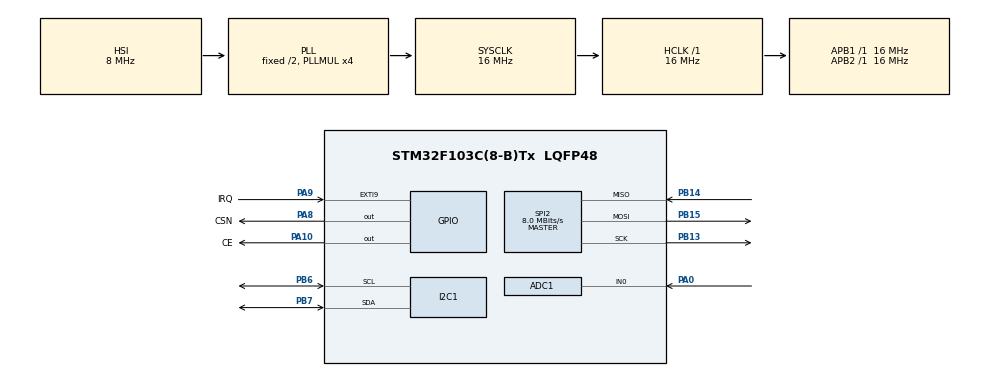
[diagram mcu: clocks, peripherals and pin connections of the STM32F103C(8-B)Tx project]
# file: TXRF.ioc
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ADC1.Channel-0\#ChannelRegularConversion=ADC_CHANNEL_0
ADC1.ContinuousConvMode=ENABLE
ADC1.NbrOfConversionFlag=1
ADC1.Rank-0\#ChannelRegularConversion=1
ADC1.SamplingTime-0\#ChannelRegularConversion=ADC_SAMPLETIME_1CYCLE_5
ADC1.master=1
Mcu.Family=STM32F1
Mcu.Name=STM32F103C(8-B)Tx
Mcu.Package=LQFP48
NVIC.PriorityGroup=NVIC_PRIORITYGROUP_4
NVIC.SPI2_IRQn=true\:0\:0\:false\:false\:true\:true\:true\:true
PA0-WKUP.Signal=ADCx_IN0
PA10.GPIO_Label=CE
PA10.GPIO_Speed=GPIO_SPEED_FREQ_HIGH
PA10.Signal=GPIO_Output
PA13.Mode=Serial_Wire
PA13.Signal=SYS_JTMS-SWDIO
PA14.Mode=Serial_Wire
PA14.Signal=SYS_JTCK-SWCLK
PA8.GPIO_Label=CSN
PA8.GPIO_Speed=GPIO_SPEED_FREQ_HIGH
PA8.Signal=GPIO_Output
PA9.GPIO_Label=IRQ
PA9.GPIO_ModeDefaultEXTI=GPIO_MODE_IT_FALLING
PA9.Signal=GPXTI9
PB13.Mode=Full_Duplex_Master
PB13.Signal=SPI2_SCK
PB14.Mode=Full_Duplex_Master
PB14.Signal=SPI2_MISO
PB15.Mode=Full_Duplex_Master
PB15.Signal=SPI2_MOSI
PB6.Mode=I2C
PB6.Signal=I2C1_SCL
PB7.Mode=I2C
PB7.Signal=I2C1_SDA
ProjectManager.HeapSize=0x200
ProjectManager.StackSize=0x400
ProjectManager.TargetToolchain=STM32CubeIDE
RCC.AHBFreq_Value=16000000
RCC.APB1Freq_Value=16000000
RCC.APB1TimFreq_Value=16000000
RCC.APB2Freq_Value=16000000
RCC.APB2TimFreq_Value=16000000
RCC.HCLKFreq_Value=16000000
RCC.PLLMUL=RCC_PLL_MUL4
RCC.SYSCLKFreq_VALUE=16000000
RCC.SYSCLKSource=RCC_SYSCLKSOURCE_PLLCLK
RCC.USBFreq_Value=16000000
SH.ADCx_IN0.0=ADC1_IN0,IN0
SPI2.CalculateBaudRate=8.0 MBits/s
SPI2.Direction=SPI_DIRECTION_2LINES
SPI2.Mode=SPI_MODE_MASTER
SPI2.VirtualType=VM_MASTER
board=custom

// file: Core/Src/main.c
/* USER CODE BEGIN Header */
/*
------- Kevin Lara  -------
--------- Auf Das --------
-------- Roberto --------
----------- Car  -----------
-------- 27/12/2025 --------
*/
/*
A5  SPI1_SCK
A6  SPI1_MISo
A7  SPI1_MOSI
A8  CSN
A9  CE
A10 IRQ

B7  SW Back
B6  SW Fw
*/
// ------- Main Library -------
/* USER CODE END Header */
#include "main.h"

/* USER CODE BEGIN Includes */

typedef struct {
    uint8_t cmd;
    uint8_t speed;
    float angle;
} RF_Data;

#include "NRF24.h"
#include "NRF24_reg_addresses.h"
#include "mpu6050.h"

#include <stdio.h>
#include <math.h>

/* USER CODE END Includes */

/* USER CODE BEGIN PD */
#define PLD_SIZE sizeof(RF_Data)
#define INITIAL_CMD 0x27
/* USER CODE END PD */

ADC_HandleTypeDef hadc1;

I2C_HandleTypeDef hi2c1;

SPI_HandleTypeDef hspi2;

/* USER CODE BEGIN PV */
RF_Data txData;
uint8_t dataTx[sizeof(RF_Data)];
uint8_t addrTx[4]="juan";
uint16_t var = 0x00;
uint8_t speed = 50;

float ax, ay, az, gx, gy, gz, t;
float ay_ofst;
char buf_lcd[12];

float roll_rad = 0.0f, roll_deg = 0.0f;
float deg_offset =0.0f, pwm_val=0.0f, operation =0.0f;

uint8_t cmd = INITIAL_CMD;
#define PI 3.14159265

/* USER CODE END PV */

void SystemClock_Config(void);
static void MX_GPIO_Init(void);
static void MX_SPI2_Init(void);
static void MX_ADC1_Init(void);
static void MX_I2C1_Init(void);

int main(void)
{

  /* USER CODE BEGIN 1 */
  RF_Data dataTx;

  /* USER CODE END 1 */

  /* MCU Configuration--------------------------------------------------------*/

  /* Reset of all peripherals, Initializes the Flash interface and the Systick. */
  HAL_Init();

  /* Configure the system clock */
  SystemClock_Config();

  /* Initialize all configured peripherals */
  MX_GPIO_Init();
  MX_SPI2_Init();
  MX_ADC1_Init();
  MX_I2C1_Init();
  /* USER CODE BEGIN 2 */
  MPU6050_Init();
  csn_high();
  nrf24_init();
  nrf24_tx_pwr(_0dbm );
  nrf24_data_rate(_1mbps);
  nrf24_set_crc(en_crc,_1byte);
  nrf24_set_channel(100);
  nrf24_pipe_pld_size(0,PLD_SIZE);
  nrf24_open_tx_pipe(addrTx);
  nrf24_open_rx_pipe(0,addrTx);
  nrf24_stop_listen();
  float deg_gx, deg_gy, deg_gz;

  /* USER CODE END 2 */

  /* Infinite loop */
  while (1)
  {

    /* USER CODE BEGIN 3 */
	  HAL_ADC_Start(&hadc1);

	  if(MPU6050_Read_Data() > 0)
		{
			ax = MPU6050_Get_Ax();
			ay = MPU6050_Get_Ay();
			az = MPU6050_Get_Az();
//			gx = MPU6050_Get_Gx();gy = MPU6050_Get_Gy();gz = MPU6050_Get_Gz();t = MPU6050_Get_Temperature();

    /* Angle
      float denominator = sqrt(ax * ax + az * az);
      roll_rad = atan2(ay, denominator); // arctan(ay/ \sqrt[ax^2+az^2] )
      roll_deg = roll_rad * (180.0f / PI);
      deg_offset = roll_deg+90; // avoid handling negative values on pwm
      pwm_val = 340-(deg_offset*(2.0/3.0)); // 340 - deg*120/180
    */
    /*
    for 45 deg = 220
    for 135 deg = 340
    */
    if (ay < 0.20 && ay > -0.20) ay = 0.0f;
    ay_ofst=ay+1; // offset from 0 to 2
    pwm_val = 340 - (ay_ofst * (120.0 / 2.0)); // map 0-2 to 340-220

    if (ax <= -0.8) cmd = 0x01; // Stop
    else
    {
      if(pwm_val > 280) cmd = 0x02; // Right
      else if(pwm_val < 280) cmd = 0x03; // Left
      else cmd = INITIAL_CMD;
    }

    HAL_Delay(200);
		}

	  var = HAL_ADC_GetValue(&hadc1);
    speed = (var * 101)>>12; // /4095 >>12
    dataTx.cmd = cmd;
    dataTx.angle = pwm_val;
    dataTx.speed = speed;
    nrf24_transmit((uint8_t*)&dataTx, sizeof(dataTx));

    HAL_Delay(15);
  }
  /* USER CODE END 3 */
}

void SystemClock_Config(void)
{
  RCC_OscInitTypeDef RCC_OscInitStruct = {0};
  RCC_ClkInitTypeDef RCC_ClkInitStruct = {0};
  RCC_PeriphCLKInitTypeDef PeriphClkInit = {0};

  /** Initializes the RCC Oscillators according to the specified parameters
  * in the RCC_OscInitTypeDef structure.
  */
  RCC_OscInitStruct.OscillatorType = RCC_OSCILLATORTYPE_HSI;
  RCC_OscInitStruct.HSIState = RCC_HSI_ON;
  RCC_OscInitStruct.HSICalibrationValue = RCC_HSICALIBRATION_DEFAULT;
  RCC_OscInitStruct.PLL.PLLState = RCC_PLL_ON;
  RCC_OscInitStruct.PLL.PLLSource = RCC_PLLSOURCE_HSI_DIV2;
  RCC_OscInitStruct.PLL.PLLMUL = RCC_PLL_MUL4;
  if (HAL_RCC_OscConfig(&RCC_OscInitStruct) != HAL_OK)
  {
    Error_Handler();
  }

  /** Initializes the CPU, AHB and APB buses clocks
  */
  RCC_ClkInitStruct.ClockType = RCC_CLOCKTYPE_HCLK|RCC_CLOCKTYPE_SYSCLK
                              |RCC_CLOCKTYPE_PCLK1|RCC_CLOCKTYPE_PCLK2;
  RCC_ClkInitStruct.SYSCLKSource = RCC_SYSCLKSOURCE_PLLCLK;
  RCC_ClkInitStruct.AHBCLKDivider = RCC_SYSCLK_DIV1;
  RCC_ClkInitStruct.APB1CLKDivider = RCC_HCLK_DIV1;
  RCC_ClkInitStruct.APB2CLKDivider = RCC_HCLK_DIV1;

  if (HAL_RCC_ClockConfig(&RCC_ClkInitStruct, FLASH_LATENCY_0) != HAL_OK)
  {
    Error_Handler();
  }
  PeriphClkInit.PeriphClockSelection = RCC_PERIPHCLK_ADC;
  PeriphClkInit.AdcClockSelection = RCC_ADCPCLK2_DIV2;
  if (HAL_RCCEx_PeriphCLKConfig(&PeriphClkInit) != HAL_OK)
  {
    Error_Handler();
  }
}

static void MX_ADC1_Init(void)
{

  ADC_ChannelConfTypeDef sConfig = {0};

  /** Common config
  */
  hadc1.Instance = ADC1;
  hadc1.Init.ScanConvMode = ADC_SCAN_DISABLE;
  hadc1.Init.ContinuousConvMode = ENABLE;
  hadc1.Init.DiscontinuousConvMode = DISABLE;
  hadc1.Init.ExternalTrigConv = ADC_SOFTWARE_START;
  hadc1.Init.DataAlign = ADC_DATAALIGN_RIGHT;
  hadc1.Init.NbrOfConversion = 1;
  if (HAL_ADC_Init(&hadc1) != HAL_OK)
  {
    Error_Handler();
  }

  /** Configure Regular Channel
  */
  sConfig.Channel = ADC_CHANNEL_0;
  sConfig.Rank = ADC_REGULAR_RANK_1;
  sConfig.SamplingTime = ADC_SAMPLETIME_1CYCLE_5;
  if (HAL_ADC_ConfigChannel(&hadc1, &sConfig) != HAL_OK)
  {
    Error_Handler();
  }

}

static void MX_I2C1_Init(void)
{

  hi2c1.Instance = I2C1;
  hi2c1.Init.ClockSpeed = 100000;
  hi2c1.Init.DutyCycle = I2C_DUTYCYCLE_2;
  hi2c1.Init.OwnAddress1 = 0;
  hi2c1.Init.AddressingMode = I2C_ADDRESSINGMODE_7BIT;
  hi2c1.Init.DualAddressMode = I2C_DUALADDRESS_DISABLE;
  hi2c1.Init.OwnAddress2 = 0;
  hi2c1.Init.GeneralCallMode = I2C_GENERALCALL_DISABLE;
  hi2c1.Init.NoStretchMode = I2C_NOSTRETCH_DISABLE;
  if (HAL_I2C_Init(&hi2c1) != HAL_OK)
  {
    Error_Handler();
  }

}

static void MX_SPI2_Init(void)
{

  /* SPI2 parameter configuration*/
  hspi2.Instance = SPI2;
  hspi2.Init.Mode = SPI_MODE_MASTER;
  hspi2.Init.Direction = SPI_DIRECTION_2LINES;
  hspi2.Init.DataSize = SPI_DATASIZE_8BIT;
  hspi2.Init.CLKPolarity = SPI_POLARITY_LOW;
  hspi2.Init.CLKPhase = SPI_PHASE_1EDGE;
  hspi2.Init.NSS = SPI_NSS_SOFT;
  hspi2.Init.BaudRatePrescaler = SPI_BAUDRATEPRESCALER_2;
  hspi2.Init.FirstBit = SPI_FIRSTBIT_MSB;
  hspi2.Init.TIMode = SPI_TIMODE_DISABLE;
  hspi2.Init.CRCCalculation = SPI_CRCCALCULATION_DISABLE;
  hspi2.Init.CRCPolynomial = 10;
  if (HAL_SPI_Init(&hspi2) != HAL_OK)
  {
    Error_Handler();
  }

}

static void MX_GPIO_Init(void)
{
  GPIO_InitTypeDef GPIO_InitStruct = {0};

  /* GPIO Ports Clock Enable */
  __HAL_RCC_GPIOA_CLK_ENABLE();
  __HAL_RCC_GPIOB_CLK_ENABLE();

  /*Configure GPIO pin Output Level */
  HAL_GPIO_WritePin(GPIOA, CSN_Pin|CE_Pin, GPIO_PIN_RESET);

  /*Configure GPIO pins : CSN_Pin CE_Pin */
  GPIO_InitStruct.Pin = CSN_Pin|CE_Pin;
  GPIO_InitStruct.Mode = GPIO_MODE_OUTPUT_PP;
  GPIO_InitStruct.Pull = GPIO_NOPULL;
  GPIO_InitStruct.Speed = GPIO_SPEED_FREQ_HIGH;
  HAL_GPIO_Init(GPIOA, &GPIO_InitStruct);

  /*Configure GPIO pin : IRQ_Pin */
  GPIO_InitStruct.Pin = IRQ_Pin;
  GPIO_InitStruct.Mode = GPIO_MODE_IT_FALLING;
  GPIO_InitStruct.Pull = GPIO_NOPULL;
  HAL_GPIO_Init(IRQ_GPIO_Port, &GPIO_InitStruct);

}

void Error_Handler(void)
{
  __disable_irq();
  while (1)
  {
  }
}
